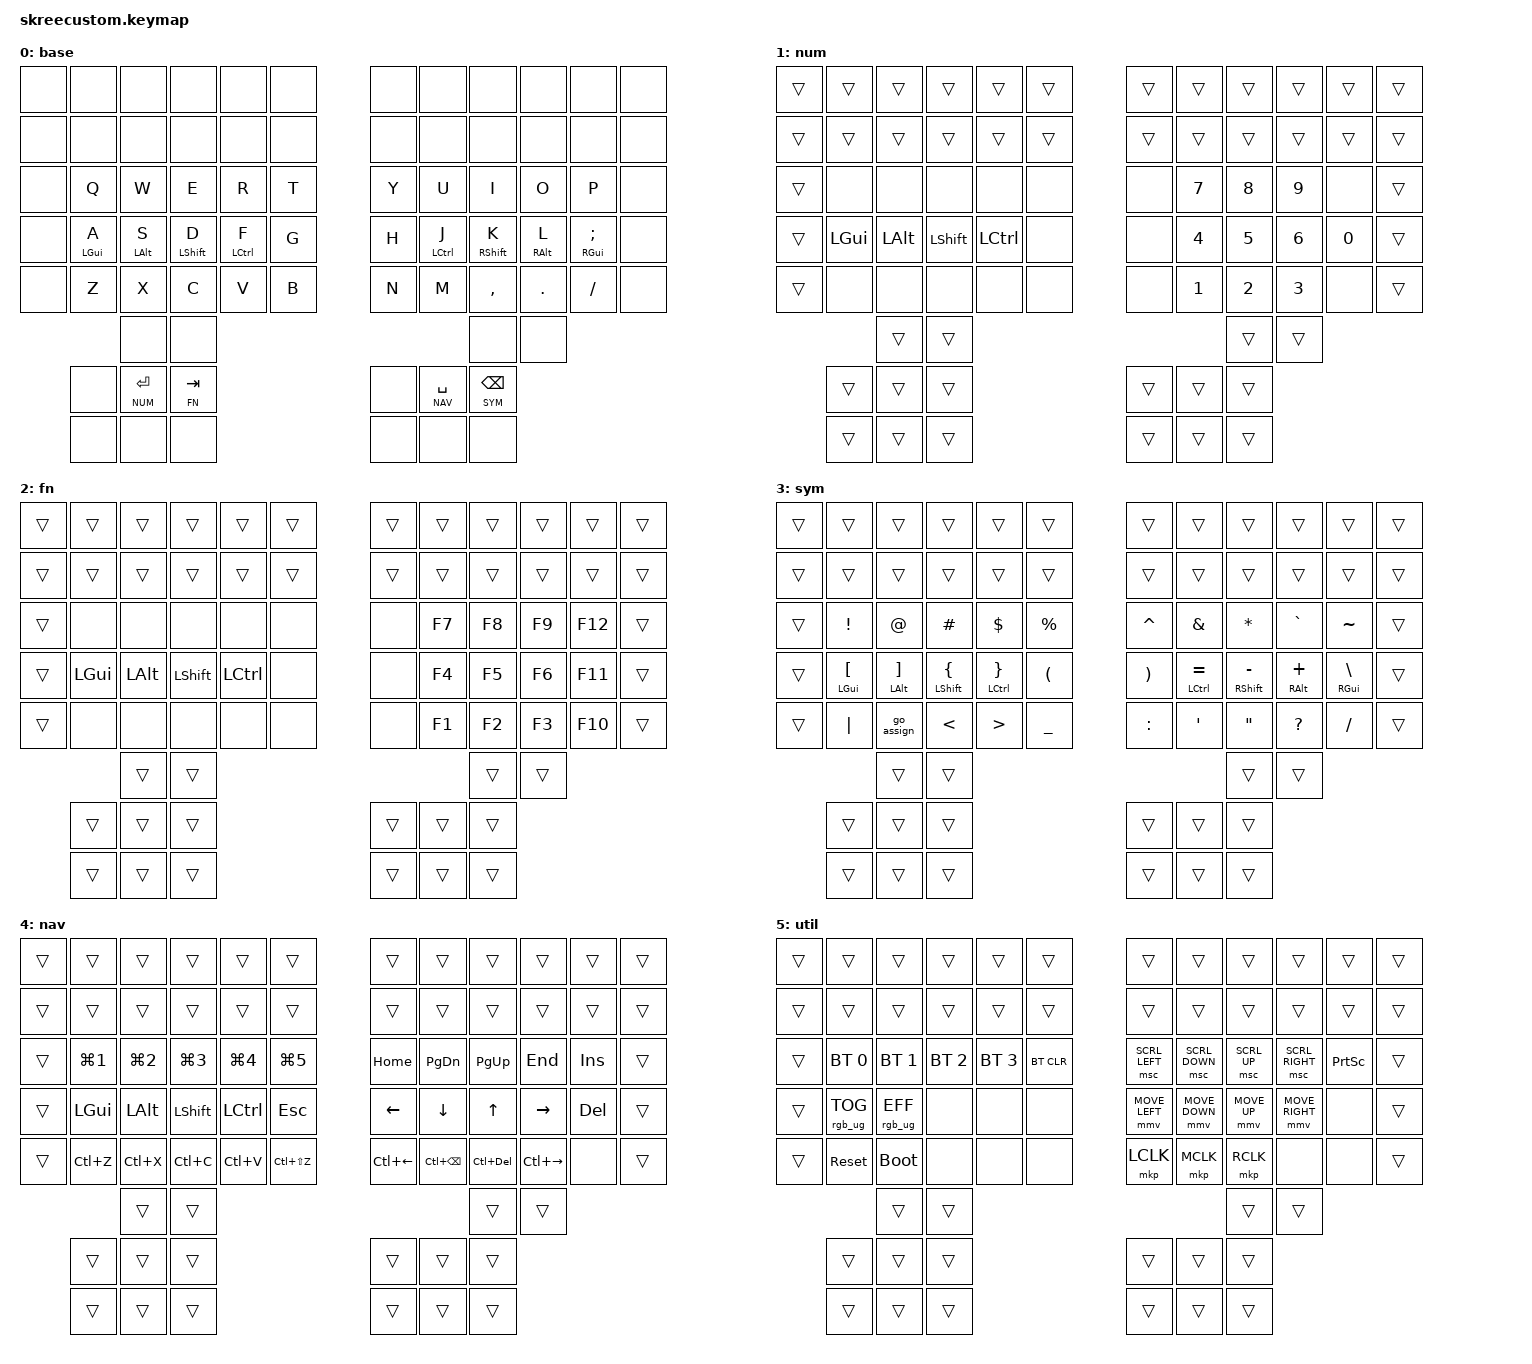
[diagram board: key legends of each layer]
/*
 * 34-key layout (3x5 + 2 thumbs per hand), expressed on the existing
 * 76-position Dactyl matrix.
 *
 * The 34-key core is the common denominator of the Dactyl, a ZSA Voyager, a
 * Ferris Sweep and a Corne, so this layout migrates to any of them unchanged.
 *
 * SPDX-License-Identifier: MIT
 */

#include <input/processors.dtsi>
#include <dt-bindings/zmk/input_transform.h>
#include <behaviors.dtsi>
#include <dt-bindings/zmk/bt.h>
#include <dt-bindings/zmk/keys.h>
#include <dt-bindings/zmk/rgb.h>
#include <dt-bindings/zmk/pointing.h>

// Layers
#define BASE 0
#define NUM  1
#define FN   2
#define SYM  3
#define NAV  4
#define UTIL 5

/* Active key positions. Numbering follows the order of entries in the matrix
 * transform; the 34 live positions are marked below.
 *
 *      .  .  .  .  .  .  |  .  .  .  .  .  .     F row      (all &none)
 *      .  .  .  .  .  .  |  .  .  .  .  .  .     numbers    (all &none)
 *      . 25 26 27 28 29  | 30 31 32 33 34  .     Q W E R T  /  Y U I O P
 *      . 37 38 39 40 41  | 42 43 44 45 46  .     A S D F G  /  H J K L ;
 *      . 49 50 51 52 53  | 54 55 56 57 58  .     Z X C V B  /  N M , . /
 *               .  .     |  .  .                 arrows     (all &none)
 *         . 65 66        | 67 68  .              thumbs, upper
 *         .  .  .        |  .  .  .              thumbs, lower (all &none)
 *
 * Shift is at D=39 and K=44. Delete combo is , + . = 56 + 57.
 */
#define KEYS_L 25 26 27 28 29 37 38 39 40 41 49 50 51 52 53
#define KEYS_R 30 31 32 33 34 42 43 44 45 46 54 55 56 57 58
#define KEYS_T 65 66 67 68

/ {
    behaviors {
        /* Home row mods: GUI / ALT / CTRL.
         *
         * flavor = tap-preferred on purpose. With "balanced", typing a word
         * like "for" (press F, press O, release O before F) resolves to a
         * hold and emits Ctrl+O. require-prior-idle-ms does not protect that
         * case when F is the first keystroke after a pause, which is exactly
         * how a Go for-loop gets typed. The cost is up to tapping-term-ms of
         * latency before a modifier engages; that is the right trade here,
         * since these mods are used after a pause rather than mid-burst. */
        hrm_l: homerow_mods_left {
            compatible = "zmk,behavior-hold-tap";
            label = "HOMEROW_MODS_L";
            #binding-cells = <2>;

            flavor = "tap-preferred";
            require-prior-idle-ms = <150>;
            tapping-term-ms = <200>;
            quick-tap-ms = <175>;

            hold-trigger-key-positions = <KEYS_R KEYS_T>;
            hold-trigger-on-release;

            bindings = <&kp>, <&kp>;
        };

        hrm_r: homerow_mods_right {
            compatible = "zmk,behavior-hold-tap";
            label = "HOMEROW_MODS_R";
            #binding-cells = <2>;

            flavor = "tap-preferred";
            require-prior-idle-ms = <150>;
            tapping-term-ms = <200>;
            quick-tap-ms = <175>;

            hold-trigger-key-positions = <KEYS_L KEYS_T>;
            hold-trigger-on-release;

            bindings = <&kp>, <&kp>;
        };

        /* Home row mods: SHIFT.
         *
         * No require-prior-idle-ms -- that setting always forces a tap, which
         * is what was eating capitals mid-burst.
         *
         * tapping-term-ms is deliberately much shorter than the other home row
         * mods. "balanced" only resolves to a hold once the other key has been
         * pressed AND released while Shift is still down. Typing fast, you roll
         * off Shift before releasing the letter, so the hold-tap sees its own
         * release first and taps -- "dh" instead of "H". The only thing that
         * rescues that case is the tapping-term timer firing first, and a whole
         * fast capital is over in about 120ms, so the term has to sit below
         * that: under the Shift hold, above a letter tap.
         *
         * 130ms comes from the measured typing speed: 60wpm average, 80wpm in
         * bursts. At 5 chars per word that is one keypress every 200ms, or
         * every 150ms in a burst. Key dwell -- press to release -- is roughly
         * 80-110ms and barely moves with speed, so the term is boxed in from
         * both sides: it has to clear a ~110ms letter dwell, and stay under the
         * 150ms burst interval or Shift can never engage mid-burst at all.
         * 130ms is the middle of that 110-150ms window.
         *
         * The knob, in order of what you would notice: raise toward 145 if
         * lingering on D or K emits stray capitals, lower toward 115 if fast
         * capitals still slip through. Do not go above 150 -- that is the
         * burst interval, past which mid-burst Shift stops working.
         *
         * Those same numbers are why require-prior-idle-ms cannot come back
         * here. At 150-200ms between presses, a 150ms idle guard forces a tap
         * on essentially every mid-burst keystroke.
         *
         * quick-tap-ms must stay under the term, or a Shift press within that
         * window of tapping the same key is forced to tap no matter how long
         * it is held. */
        hrms_l: homerow_mods_shift_left {
            compatible = "zmk,behavior-hold-tap";
            label = "HOMEROW_MODS_SHIFT_L";
            #binding-cells = <2>;

            flavor = "balanced";
            tapping-term-ms = <130>;
            quick-tap-ms = <100>;

            hold-trigger-key-positions = <KEYS_R KEYS_T>;
            hold-trigger-on-release;

            bindings = <&kp>, <&kp>;
        };

        hrms_r: homerow_mods_shift_right {
            compatible = "zmk,behavior-hold-tap";
            label = "HOMEROW_MODS_SHIFT_R";
            #binding-cells = <2>;

            flavor = "balanced";
            tapping-term-ms = <130>;
            quick-tap-ms = <100>;

            hold-trigger-key-positions = <KEYS_L KEYS_T>;
            hold-trigger-on-release;

            bindings = <&kp>, <&kp>;
        };

        /* SYM-layer home row mods.
         *
         * Separate behaviors from the BASE hrm_* pair, for two reasons.
         *
         * No require-prior-idle-ms: on SYM the "prior key" is usually the
         * symbol you just typed, so a 150ms guard would silently swallow the
         * modifier and emit a bracket instead.
         *
         * tap-preferred for Shift too, unlike BASE. Shift sits on "{", and
         * balanced would turn {" (Go struct tags, JSON) into a lost brace plus
         * a Shift+" that is still just ". The latency cost does not matter
         * here: every shifted symbol already has its own SYM key, so these
         * mods exist for shortcuts, not for typing.
         */
        shrm_l: sym_homerow_mods_left {
            compatible = "zmk,behavior-hold-tap";
            label = "SYM_HOMEROW_MODS_L";
            #binding-cells = <2>;

            flavor = "tap-preferred";
            tapping-term-ms = <200>;
            quick-tap-ms = <175>;

            hold-trigger-key-positions = <KEYS_R KEYS_T>;
            hold-trigger-on-release;

            bindings = <&kp>, <&kp>;
        };

        shrm_r: sym_homerow_mods_right {
            compatible = "zmk,behavior-hold-tap";
            label = "SYM_HOMEROW_MODS_R";
            #binding-cells = <2>;

            flavor = "tap-preferred";
            tapping-term-ms = <200>;
            quick-tap-ms = <175>;

            hold-trigger-key-positions = <KEYS_L KEYS_T>;
            hold-trigger-on-release;

            bindings = <&kp>, <&kp>;
        };

        /* Thumb layer-taps.
         *
         * quick-tap-ms is what makes tap-then-hold repeat work on Backspace
         * and Space. It must be present -- the ZMK default is disabled. 220ms
         * because ZMK measures the window press-to-press, not release-to-press,
         * so the first tap's own duration eats into it.
         *
         * tap-preferred, so "delete a character then retype it" (press BSPC,
         * press X, release X) cannot resolve to a hold and emit the SYM layer's
         * X instead of a backspace.
         *
         * No require-prior-idle-ms: SYM must be reachable mid-word, e.g. while
         * typing foo := bar{}.
         *
         * tapping-term-ms is the main knob here. Lower it toward 180 if the
         * layers feel slow to engage; raise it if layers fire when you only
         * meant to hold Space a beat too long.
         */
        lt: layer_tap {
            compatible = "zmk,behavior-hold-tap";
            #binding-cells = <2>;
            label = "LAYER_TAP";
            display-name = "Layer-Tap";

            flavor = "tap-preferred";
            tapping-term-ms = <200>;
            quick-tap-ms = <220>;

            bindings = <&mo>, <&kp>;
        };
    };

    macros {
        /* := needs a macro; it is Shift+; followed by =, not a single keycode. */
        go_assign: go_assign {
            compatible = "zmk,behavior-macro";
            #binding-cells = <0>;
            label = "GO_ASSIGN";
            wait-ms = <0>;
            tap-ms = <5>;
            bindings = <&kp COLON &kp EQUAL>;
        };
    };

    combos {
        compatible = "zmk,combos";

        /* Delete without a layer hold, for the terminal (no Vim mode) and for
         * prose. Middle + ring finger, one hand, so the other hand can stay on
         * the mouse. "," and "." are never pressed simultaneously in real text,
         * so a 40ms window is safe.
         *
         * Note readline already gives forward-delete as Ctrl+D in the shell,
         * though Ctrl+D on an empty prompt sends EOF and closes it -- which is
         * presumably why a real Delete key is wanted. */
        combo_del {
            bindings = <&kp DEL>;
            key-positions = <56 57>;
            timeout-ms = <40>;
            layers = <BASE>;
        };

        /* Both Shift keys together -> Caps Word, for SCREAMING_SNAKE env vars
         * and const blocks. */
        combo_caps_word {
            bindings = <&caps_word>;
            key-positions = <39 44>;
            timeout-ms = <50>;
            layers = <BASE>;
        };
    };

    conditional_layers {
        compatible = "zmk,conditional-layers";

        /* Holding both outer thumbs (Enter/NUM + Space/NAV) reaches UTIL,
         * so no thumb has to be spent on a rarely-used layer. */
        util_layer {
            if-layers = <NUM NAV>;
            then-layer = <UTIL>;
        };
    };

    keymap {
        compatible = "zmk,keymap";

        /* ------------------------------------------------------------------
         * BASE
         *
         *   Q      W      E      R      T   |  Y      U      I      O      P
         *   A/GUI  S/ALT  D/SHFT F/CTRL G   |  H      J/CTRL K/SHFT L/ALT  ;/GUI
         *   Z      X      C      V      B   |  N      M      ,      .      /
         *             ENT/NUM  TAB/FN       |  BSPC/SYM  SPC/NAV
         *
         * Tab is a layer-tap rather than a plain key; that is what pays for a
         * dedicated F-key layer without resorting to a two-thumb chord.
         * ------------------------------------------------------------------ */
        base_layer {
            display-name = "base";
            bindings = <
&none  &none          &none          &none            &none           &none    &none  &none           &none            &none          &none             &none
&none  &none          &none          &none            &none           &none    &none  &none           &none            &none          &none             &none
&none  &kp Q          &kp W          &kp E            &kp R           &kp T    &kp Y  &kp U           &kp I            &kp O          &kp P             &none
&none  &hrm_l LGUI A  &hrm_l LALT S  &hrms_l LSHFT D  &hrm_l LCTRL F  &kp G    &kp H  &hrm_r LCTRL J  &hrms_r RSHFT K  &hrm_r RALT L  &hrm_r RGUI SEMI  &none
&none  &kp Z          &kp X          &kp C            &kp V           &kp B    &kp N  &kp M           &kp COMMA        &kp DOT        &kp FSLH          &none
                      &none          &none                                                            &none            &none
                             &none  &lt NUM RET  &lt FN TAB          &lt SYM BSPC  &lt NAV SPACE  &none
                             &none  &none        &none               &none         &none          &none
            >;
        };

        /* ------------------------------------------------------------------
         * NUM -- hold Enter (left outer thumb)
         *
         *   -    -    -    -    -   |  -   7  8  9  -
         *   GUI  ALT  SHFT CTRL -   |  -   4  5  6  0
         *   -    -    -    -    -   |  -   1  2  3  -
         *
         * Numpad on the right hand with plain mods on the left home row, which
         * is what makes Super+N (Wayland workspaces), Ctrl+N and Alt+N work as
         * ordinary cross-hand chords. A straight 1-0 row across both hands
         * cannot do that, since GUI and the digits would collide on one hand.
         * ------------------------------------------------------------------ */
        num_layer {
            display-name = "num";
            bindings = <
&trans  &trans     &trans     &trans      &trans      &trans    &trans  &trans   &trans   &trans   &trans   &trans
&trans  &trans     &trans     &trans      &trans      &trans    &trans  &trans   &trans   &trans   &trans   &trans
&trans  &none      &none      &none       &none       &none     &none   &kp N7   &kp N8   &kp N9   &none    &trans
&trans  &kp LGUI   &kp LALT   &kp LSHFT   &kp LCTRL   &none     &none   &kp N4   &kp N5   &kp N6   &kp N0   &trans
&trans  &none      &none      &none       &none       &none     &none   &kp N1   &kp N2   &kp N3   &none    &trans
                   &trans     &trans                                             &trans   &trans
                          &trans  &trans  &trans                  &trans  &trans  &trans
                          &trans  &trans  &trans                  &trans  &trans  &trans
            >;
        };

        /* ------------------------------------------------------------------
         * FN -- hold Tab (left inner thumb)
         *
         *   -    -    -    -    -   |  -   F7 F8 F9 F12
         *   GUI  ALT  SHFT CTRL -   |  -   F4 F5 F6 F11
         *   -    -    -    -    -   |  -   F1 F2 F3 F10
         *
         * Same 3x3 geometry as NUM, so F7 sits where 7 sits. Mods on the left
         * home row make Shift+F7, Shift+F9, Shift+F10 and Ctrl+F5 clean
         * cross-hand chords -- GoLand needs all of those.
         * ------------------------------------------------------------------ */
        fn_layer {
            display-name = "fn";
            bindings = <
&trans  &trans     &trans     &trans      &trans      &trans    &trans  &trans   &trans   &trans   &trans    &trans
&trans  &trans     &trans     &trans      &trans      &trans    &trans  &trans   &trans   &trans   &trans    &trans
&trans  &none      &none      &none       &none       &none     &none   &kp F7   &kp F8   &kp F9   &kp F12   &trans
&trans  &kp LGUI   &kp LALT   &kp LSHFT   &kp LCTRL   &none     &none   &kp F4   &kp F5   &kp F6   &kp F11   &trans
&trans  &none      &none      &none       &none       &none     &none   &kp F1   &kp F2   &kp F3   &kp F10   &trans
                   &trans     &trans                                             &trans   &trans
                          &trans  &trans  &trans                  &trans  &trans  &trans
                          &trans  &trans  &trans                  &trans  &trans  &trans
            >;
        };

        /* ------------------------------------------------------------------
         * SYM -- hold Backspace (right inner thumb)
         *
         *   !      @      #      $      %  |  ^  &      *      `      ~
         *   [/GUI  ]/ALT  {/SFT  }/CTL  (  |  )  =/CTL  -/SFT  +/ALT  \/GUI
         *   |      :=     <      >      _  |  :  '      "      ?      /
         *
         * Home row mods are mirrored on both hands, in the same order as BASE,
         * so Ctrl+=, Ctrl+`, Alt+-, Ctrl+Shift+[ and friends all work. One
         * hand would not be enough: the symbols fill both hands, so each hand
         * needs the other hand's modifiers. Same-hand chords (left Ctrl with
         * left "}") stay unreachable, which is the limitation BASE already has.
         *
         * Add &kp LT &kp MINUS as a macro here if you want a single-key <-
         * for channel ops.
         * ------------------------------------------------------------------ */
        sym_layer {
            display-name = "sym";
            bindings = <
&trans  &trans      &trans      &trans      &trans      &trans        &trans      &trans      &trans      &trans      &trans      &trans
&trans  &trans      &trans      &trans      &trans      &trans        &trans      &trans      &trans      &trans      &trans      &trans
&trans  &kp EXCL    &kp AT      &kp HASH    &kp DLLR    &kp PRCNT     &kp CARET   &kp AMPS    &kp STAR    &kp GRAVE   &kp TILDE   &trans
&trans  &shrm_l LGUI LBKT  &shrm_l LALT RBKT  &shrm_l LSHFT LBRC  &shrm_l LCTRL RBRC  &kp LPAR        &kp RPAR   &shrm_r LCTRL EQUAL  &shrm_r RSHFT MINUS  &shrm_r RALT PLUS  &shrm_r RGUI BSLH  &trans
&trans  &kp PIPE           &go_assign         &kp LT              &kp GT              &kp UNDERSCORE  &kp COLON  &kp SQT              &kp DQT              &kp QMARK          &kp FSLH           &trans
                    &trans      &trans                                                        &trans      &trans
                          &trans  &trans  &trans                  &trans  &trans  &trans
                          &trans  &trans  &trans                  &trans  &trans  &trans
            >;
        };

        /* ------------------------------------------------------------------
         * NAV -- hold Space (right outer thumb)
         *
         *   S-1  S-2  S-3  S-4  S-5  |  HOME   PGDN   PGUP   END     INS
         *   GUI  ALT  SHFT CTRL ESC  |  LEFT   DOWN   UP     RIGHT   DEL
         *   UNDO CUT  COPY PSTE REDO |  C-LEFT C-BSPC C-DEL  C-RIGHT -
         *
         * Arrows are Vim-correct on H J K L. Mods sit on the opposite hand, so
         * Ctrl+Shift+Arrow selection is one hand each.
         *
         * Undo/cut/copy/paste land on their real QWERTY shortcut positions
         * (Z X C V), with redo on B. Linux-only by your call, so plain LC().
         *
         * Delete is at the ";" position, right of the RIGHT arrow -- for prose
         * editing you are already holding NAV.
         *
         * S-1..S-5 are Super+1..5 for Wayland workspaces: one thumb, one key.
         * The generic Super+N path on the NUM layer still works for 6-0.
         * ------------------------------------------------------------------ */
        nav_layer {
            display-name = "nav";
            bindings = <
&trans  &trans        &trans       &trans       &trans       &trans          &trans        &trans        &trans      &trans         &trans    &trans
&trans  &trans        &trans       &trans       &trans       &trans          &trans        &trans        &trans      &trans         &trans    &trans
&trans  &kp LG(N1)    &kp LG(N2)   &kp LG(N3)   &kp LG(N4)   &kp LG(N5)      &kp HOME      &kp PG_DN     &kp PG_UP   &kp END        &kp INS   &trans
&trans  &kp LGUI      &kp LALT     &kp LSHFT    &kp LCTRL    &kp ESC         &kp LEFT      &kp DOWN      &kp UP      &kp RIGHT      &kp DEL   &trans
&trans  &kp LC(Z)     &kp LC(X)    &kp LC(C)    &kp LC(V)    &kp LC(LS(Z))   &kp LC(LEFT)  &kp LC(BSPC)  &kp LC(DEL) &kp LC(RIGHT)  &none     &trans
                      &trans       &trans                                                                &trans      &trans
                          &trans  &trans  &trans                  &trans  &trans  &trans
                          &trans  &trans  &trans                  &trans  &trans  &trans
            >;
        };

        /* ------------------------------------------------------------------
         * UTIL -- hold NUM + NAV together (both outer thumbs)
         *
         * Bluetooth, RGB, flashing and mouse. Everything here is rare enough
         * that a two-thumb chord is the right price.
         * ------------------------------------------------------------------ */
        util_layer {
            display-name = "util";
            bindings = <
&trans  &trans            &trans            &trans          &trans          &trans        &trans           &trans           &trans         &trans            &trans      &trans
&trans  &trans            &trans            &trans          &trans          &trans        &trans           &trans           &trans         &trans            &trans      &trans
&trans  &bt BT_SEL 0      &bt BT_SEL 1      &bt BT_SEL 2    &bt BT_SEL 3    &bt BT_CLR    &msc SCRL_LEFT   &msc SCRL_DOWN   &msc SCRL_UP   &msc SCRL_RIGHT   &kp PSCRN   &trans
&trans  &rgb_ug RGB_TOG   &rgb_ug RGB_EFF   &none           &none           &none         &mmv MOVE_LEFT   &mmv MOVE_DOWN   &mmv MOVE_UP   &mmv MOVE_RIGHT   &none       &trans
&trans  &sys_reset        &bootloader       &none           &none           &none         &mkp LCLK        &mkp MCLK        &mkp RCLK      &none             &none       &trans
                          &trans            &trans                                                                          &trans         &trans
                          &trans  &trans  &trans                  &trans  &trans  &trans
                          &trans  &trans  &trans                  &trans  &trans  &trans
            >;
        };
    };
};
